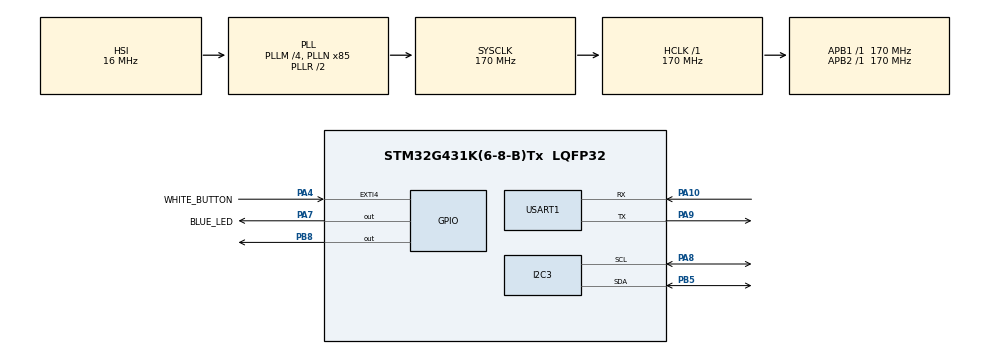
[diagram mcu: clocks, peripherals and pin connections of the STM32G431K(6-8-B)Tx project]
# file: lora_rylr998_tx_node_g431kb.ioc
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I2C3.Timing=0x40B285C2
Mcu.Family=STM32G4
Mcu.Name=STM32G431K(6-8-B)Tx
Mcu.Package=LQFP32
NUCLEO-G431KB.Bsp_Common_DEMO=true
NUCLEO-G431KB.LD2=true
NUCLEO-G431KB.VCP=true
NVIC.EXTI4_IRQn=true\:0\:0\:false\:false\:true\:true\:true\:true
NVIC.PriorityGroup=NVIC_PRIORITYGROUP_4
NVIC.USART1_IRQn=true\:0\:0\:false\:false\:true\:true\:true\:true
PA10.GPIO_PuPd=GPIO_PULLUP
PA10.Mode=Asynchronous
PA10.Signal=USART1_RX
PA13.GPIO_Label=T_SWDIO
PA13.Signal=SYS_JTMS-SWDIO
PA14.GPIO_Label=T_SWCLK
PA14.Signal=SYS_JTCK-SWCLK
PA2.Signal=USART2_TX
PA3.Signal=USART2_RX
PA4.GPIO_Label=WHITE_BUTTON
PA4.GPIO_ModeDefaultEXTI=GPIO_MODE_IT_FALLING
PA4.Signal=GPXTI4
PA7.GPIO_Label=BLUE_LED
PA7.Signal=GPIO_Output
PA8.Mode=I2C
PA8.Signal=I2C3_SCL
PA9.Mode=Asynchronous
PA9.Signal=USART1_TX
PB3.GPIO_Label=T_SWO
PB3.Signal=SYS_JTDO-SWO
PB5.Mode=I2C
PB5.Signal=I2C3_SDA
PB8-BOOT0.Signal=GPIO_Output
ProjectManager.HeapSize=0x200
ProjectManager.StackSize=0x400
ProjectManager.TargetToolchain=STM32CubeIDE
RCC.ADC12Freq_Value=170000000
RCC.AHBFreq_Value=170000000
RCC.APB1Freq_Value=170000000
RCC.APB1TimFreq_Value=170000000
RCC.APB2Freq_Value=170000000
RCC.APB2TimFreq_Value=170000000
RCC.CortexFreq_Value=170000000
RCC.EXTERNAL_CLOCK_VALUE=12288000
RCC.HCLKFreq_Value=170000000
RCC.HSE_VALUE=8000000
RCC.HSI48_VALUE=48000000
RCC.HSI_VALUE=16000000
RCC.LSE_VALUE=32768
RCC.PLLM=RCC_PLLM_DIV4
RCC.PLLN=85
RCC.SYSCLKFreq_VALUE=170000000
RCC.SYSCLKSource=RCC_SYSCLKSOURCE_PLLCLK
RCC.USBFreq_Value=170000000
RCC.VCOOutputFreq_Value=340000000
RTC.Format=RTC_FORMAT_BIN
USART1.VirtualMode-Asynchronous=VM_ASYNC
VP_NUCLEO-G431KB_VS_BSP_COMMON.Mode=COMMON
VP_RTC_VS_RTC_Activate.Mode=RTC_Enabled
VP_RTC_VS_RTC_Calendar.Mode=RTC_Calendar
VP_SYS_VS_DBSignals.Mode=DisableDeadBatterySignals
board=NUCLEO-G431KB

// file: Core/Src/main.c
/* USER CODE BEGIN Header */
/**
 ******************************************************************************
 * @file           : main.c
 * @brief          : Main program body
 ******************************************************************************
 * @attention
 *
 * Copyright (c) 2025 STMicroelectronics.
 * All rights reserved.
 *
 * This software is licensed under terms that can be found in the LICENSE file
 * in the root directory of this software component.
 * If no LICENSE file comes with this software, it is provided AS-IS.
 *
 ******************************************************************************
 */
/* USER CODE END Header */
#include "main.h"
#include "i2c.h"
#include "rtc.h"
#include "usart.h"
#include "gpio.h"

/* USER CODE BEGIN Includes */
#include <stdio.h>
#include "rtc_conf.h"
#include "ssd1306.h"
/* USER CODE END Includes */

/* USER CODE BEGIN PD */
#define LORA_MSG_PERIOD 1000
#define LORA_RX_NODE_ID 2
#define LORA_MSG "Hello from RYRL998 node 5 :)"
#define LCD_LINE_LENGTH 21 // in characters
/* USER CODE END PD */

COM_InitTypeDef BspCOMInit;

/* USER CODE BEGIN PV */
uint32_t LoraSoftTimer;
uint8_t lora_at_msg[64];
uint8_t lora_at_msg_length;

// Timestamp
extern RTC_TimeTypeDef timeNow;
extern RTC_DateTypeDef dateNow;

/* USER CODE END PV */

void SystemClock_Config(void);

int main(void)
{

	/* MCU Configuration--------------------------------------------------------*/

	/* Reset of all peripherals, Initializes the Flash interface and the Systick. */
	HAL_Init();

	/* Configure the system clock */
	SystemClock_Config();

	/* Initialize all configured peripherals */
	MX_GPIO_Init();
	MX_I2C3_Init();
	MX_USART1_UART_Init();
	MX_RTC_Init();
	/* USER CODE BEGIN 2 */
	ssd1306_Init();
	ssd1306_Fill(Black);
	ssd1306_SetCursor(20, 0);
	ssd1306_WriteString("ufnalski.edu.pl", Font_6x8, White);
	ssd1306_SetCursor(8, 12);
	ssd1306_WriteString("REYAX RYLR998 LoRa", Font_6x8, White);
	ssd1306_UpdateScreen();

	SetRtcCompilationTimeAndDate();
	LoraSoftTimer = HAL_GetTick();
	/* USER CODE END 2 */

	/* Initialize leds */
	BSP_LED_Init(LED_GREEN);

	/* Initialize COM1 port (115200, 8 bits (7-bit data + 1 stop bit), no parity */
	BspCOMInit.BaudRate = 115200;
	BspCOMInit.WordLength = COM_WORDLENGTH_8B;
	BspCOMInit.StopBits = COM_STOPBITS_1;
	BspCOMInit.Parity = COM_PARITY_NONE;
	BspCOMInit.HwFlowCtl = COM_HWCONTROL_NONE;
	if (BSP_COM_Init(COM1, &BspCOMInit) != BSP_ERROR_NONE)
	{
		Error_Handler();
	}

	/* USER CODE BEGIN BSP */

	/* -- Sample board code to send message over COM1 port ---- */
	printf("Welcome to LoRa world!\r\n");

	/* -- Sample board code to switch on leds ---- */
	BSP_LED_On(LED_GREEN);

	/* USER CODE END BSP */

	/* Infinite loop */
	/* USER CODE BEGIN WHILE */
	while (1)
	{

		/* -- Sample board code to toggle leds ---- */
//       BSP_LED_Toggle(LED_GREEN);
		if (HAL_GetTick() - LoraSoftTimer > LORA_MSG_PERIOD)
		{
			LoraSoftTimer = HAL_GetTick();
			HAL_RTC_GetTime(&hrtc, &timeNow, RTC_FORMAT_BIN);
			HAL_RTC_GetDate(&hrtc, &dateNow, RTC_FORMAT_BIN);
			lora_at_msg_length = sprintf((char*) lora_at_msg,
					"AT+SEND=%d,%d,[%02d:%02d:%02d] %s\r\n", LORA_RX_NODE_ID,
					11 + sizeof(LORA_MSG) - 1, timeNow.Hours, timeNow.Minutes,
					timeNow.Seconds, LORA_MSG);
			HAL_UART_Transmit(&huart1, lora_at_msg, lora_at_msg_length,
			LORA_MSG_PERIOD);
			HAL_GPIO_TogglePin(BLUE_LED_GPIO_Port, BLUE_LED_Pin);

			ssd1306_Fill(Black);
			ssd1306_SetCursor(20, 0);
			ssd1306_WriteString("ufnalski.edu.pl", Font_6x8, White);
			ssd1306_SetCursor(8, 12);
			ssd1306_WriteString("REYAX RYLR998 LoRa", Font_6x8, White);
			ssd1306_SetCursor(2, 30);
			ssd1306_WriteString((char*) lora_at_msg, Font_6x8, White);
			ssd1306_SetCursor(2, 42);
			ssd1306_WriteString((char*) lora_at_msg + LCD_LINE_LENGTH, Font_6x8,
					White);
			ssd1306_SetCursor(2, 54);
			ssd1306_WriteString(
					(char*) lora_at_msg + LCD_LINE_LENGTH + LCD_LINE_LENGTH,
					Font_6x8, White);
			ssd1306_UpdateScreen();
		}

		/* USER CODE END WHILE */

	}
}

void SystemClock_Config(void)
{
	RCC_OscInitTypeDef RCC_OscInitStruct =
	{ 0 };
	RCC_ClkInitTypeDef RCC_ClkInitStruct =
	{ 0 };

	/** Configure the main internal regulator output voltage
	 */
	HAL_PWREx_ControlVoltageScaling(PWR_REGULATOR_VOLTAGE_SCALE1_BOOST);

	/** Initializes the RCC Oscillators according to the specified parameters
	 * in the RCC_OscInitTypeDef structure.
	 */
	RCC_OscInitStruct.OscillatorType = RCC_OSCILLATORTYPE_HSI
			| RCC_OSCILLATORTYPE_LSI;
	RCC_OscInitStruct.HSIState = RCC_HSI_ON;
	RCC_OscInitStruct.HSICalibrationValue = RCC_HSICALIBRATION_DEFAULT;
	RCC_OscInitStruct.LSIState = RCC_LSI_ON;
	RCC_OscInitStruct.PLL.PLLState = RCC_PLL_ON;
	RCC_OscInitStruct.PLL.PLLSource = RCC_PLLSOURCE_HSI;
	RCC_OscInitStruct.PLL.PLLM = RCC_PLLM_DIV4;
	RCC_OscInitStruct.PLL.PLLN = 85;
	RCC_OscInitStruct.PLL.PLLP = RCC_PLLP_DIV2;
	RCC_OscInitStruct.PLL.PLLQ = RCC_PLLQ_DIV2;
	RCC_OscInitStruct.PLL.PLLR = RCC_PLLR_DIV2;
	if (HAL_RCC_OscConfig(&RCC_OscInitStruct) != HAL_OK)
	{
		Error_Handler();
	}

	/** Initializes the CPU, AHB and APB buses clocks
	 */
	RCC_ClkInitStruct.ClockType = RCC_CLOCKTYPE_HCLK | RCC_CLOCKTYPE_SYSCLK
			| RCC_CLOCKTYPE_PCLK1 | RCC_CLOCKTYPE_PCLK2;
	RCC_ClkInitStruct.SYSCLKSource = RCC_SYSCLKSOURCE_PLLCLK;
	RCC_ClkInitStruct.AHBCLKDivider = RCC_SYSCLK_DIV1;
	RCC_ClkInitStruct.APB1CLKDivider = RCC_HCLK_DIV1;
	RCC_ClkInitStruct.APB2CLKDivider = RCC_HCLK_DIV1;

	if (HAL_RCC_ClockConfig(&RCC_ClkInitStruct, FLASH_LATENCY_4) != HAL_OK)
	{
		Error_Handler();
	}
}

/* USER CODE BEGIN 4 */
void HAL_GPIO_EXTI_Callback(uint16_t GPIO_Pin)
{
	if (GPIO_Pin == WHITE_BUTTON_Pin)
	{
		HAL_GPIO_TogglePin(BLUE_LED_GPIO_Port, BLUE_LED_Pin);
	}
	else
	{
		__NOP();
	}
}
/* USER CODE END 4 */

/* USER CODE BEGIN Header */
/**
 ******************************************************************************
 * @file           : main.c
 * @brief          : Main program body
 ******************************************************************************
 * @attention
 *
 * Copyright (c) 2025 STMicroelectronics.
 * All rights reserved.
 *
 * This software is licensed under terms that can be found in the LICENSE file
 * in the root directory of this software component.
 * If no LICENSE file comes with this software, it is provided AS-IS.
 *
 ******************************************************************************
 */
/* USER CODE END Header */

void Error_Handler(void)
{
	__disable_irq();
	while (1)
	{
	}
}
